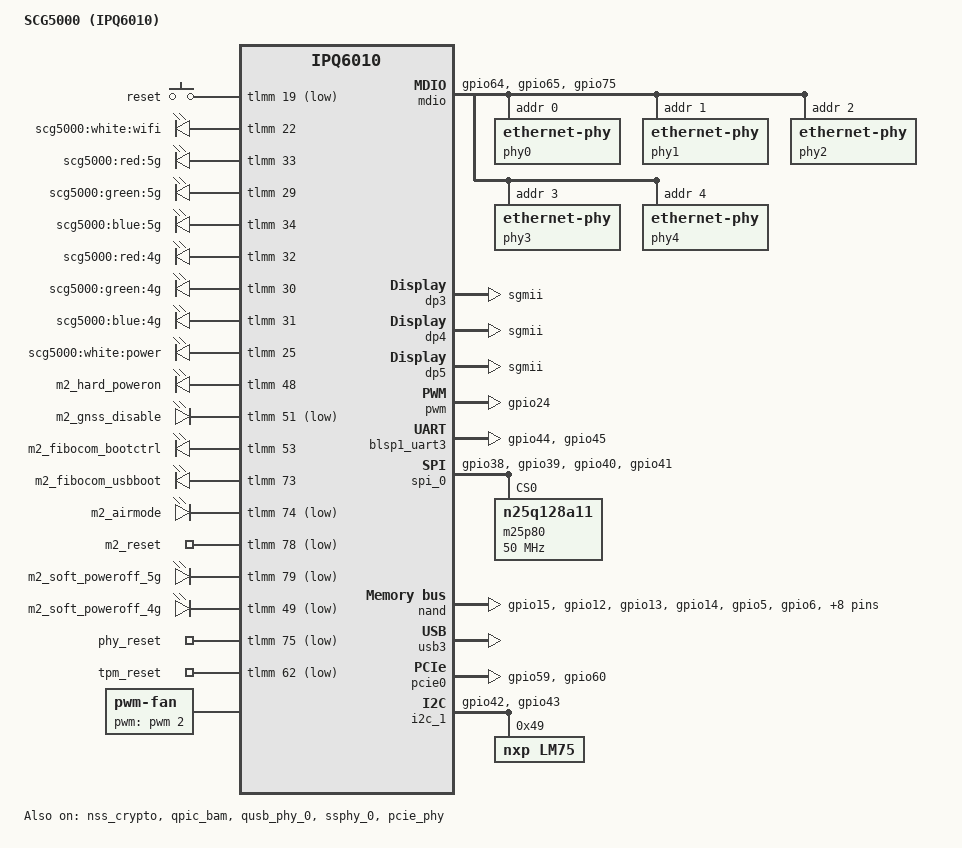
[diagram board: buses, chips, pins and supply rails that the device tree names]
// SPDX-License-Identifier: GPL-2.0-or-later OR MIT

/dts-v1/;

#include "qcom-ipq6018.dtsi"
#include "qcom-ipq6018-rpm-regulator.dtsi"
#include "qcom-ipq6018-cpr-regulator.dtsi"
#include "qcom-ipq6018-cp-cpu.dtsi"
#include <dt-bindings/input/input.h>
#include <dt-bindings/gpio/gpio.h>

/ {
	#address-cells = <0x2>;
	#size-cells = <0x2>;
	model = "SCG5000 (IPQ6010)";
	compatible = "alicloud,scg5000", "qcom,ipq6018", "qcom,ipq6010";
	interrupt-parent = <&intc>;
	qcom,msm-id = <0x192 0x0>;

	aliases {
		led-boot = &led_power;
		led-failsafe = &led_power;
		led-running = &led_power;
		led-upgrade = &led_power;
		serial0 = &blsp1_uart3;

		ethernet2 = "/soc/dp3";
		ethernet3 = "/soc/dp4";
		ethernet4 = "/soc/dp5";
	};

	chosen {
		bootargs-append = " root=/dev/ubiblock0_1 swiotlb=1 coherent_pool=2M";
	};

	soc {
		mdio: mdio@90000 {
			pinctrl-0 = <&mdio_pins>;
			pinctrl-names = "default";
			phy-reset-gpio = <&tlmm 75 0>;
			status = "ok";

			phy0: ethernet-phy@0 {
				reg = <0>;
			};
			phy1: ethernet-phy@1 {
				reg = <1>;
			};
			phy2: ethernet-phy@2 {
				reg = <2>;
			};
			phy3: ethernet-phy@3 {
				reg = <3>;
			};
			phy4: ethernet-phy@4 {
				reg = <4>;
			};
		};

		ess-switch@3a000000 {
			switch_cpu_bmp = <0x1>;  /* cpu port bitmap */
			switch_lan_bmp = <0x1e>; /* lan port bitmap */
			switch_wan_bmp = <0x20>; /* wan port bitmap */
			switch_inner_bmp = <0xc0>; /*inner port bitmap*/
			switch_mac_mode = <0x0>; /* mac mode for uniphy 0*/
			switch_mac_mode1 = <0xff>; /* mac mode for uniphy 1*/
			switch_mac_mode2 = <0xff>; /* mac mode for uniphy 2*/

			qcom,port_phyinfo {
				port@0 {
					port_id = <1>;
					phy_address = <0>;
				};
				port@1 {
					port_id = <2>;
					phy_address = <1>;
				};
				port@2 {
					port_id = <3>;
					phy_address = <2>;
				};
				port@3 {
					port_id = <4>;
					phy_address = <3>;
				};
				port@4 {
					port_id = <5>;
					phy_address = <4>;
				};
			};
		};

		dp3 {
			device_type = "network";
			compatible = "qcom,nss-dp";
			qcom,id = <3>;
			reg = <0x3a001400 0x200>;
			qcom,mactype = <0>;
			local-mac-address = [000000000000];
			qcom,link-poll = <1>;
			qcom,phy-mdio-addr = <2>;
			phy-mode = "sgmii";
		};

		dp4 {
			device_type = "network";
			compatible = "qcom,nss-dp";
			qcom,id = <4>;
			reg = <0x3a001600 0x200>;
			qcom,mactype = <0>;
			local-mac-address = [000000000000];
			qcom,link-poll = <1>;
			qcom,phy-mdio-addr = <3>;
			phy-mode = "sgmii";
		};

		dp5 {
			device_type = "network";
			compatible = "qcom,nss-dp";
			qcom,id = <5>;
			reg = <0x3a001800 0x200>;
			qcom,mactype = <0>;
			local-mac-address = [000000000000];
			qcom,link-poll = <1>;
			qcom,phy-mdio-addr = <4>;
			phy-mode = "sgmii";
		};
	};

	gpio_keys {
		compatible = "gpio-keys";
		pinctrl-0 = <&button_pins>;
		pinctrl-names = "default";

		reset {
			label = "reset";
			linux,code = <KEY_RESTART>;
			gpios = <&tlmm 19 GPIO_ACTIVE_LOW>;
			linux,input-type = <1>;
			debounce-interval = <60>;
		};
	};

	leds {
		compatible = "gpio-leds";
		pinctrl-0 = <&leds_pins>;
		pinctrl-names = "default";

		led_wifi: led_wifi {
			label = "scg5000:white:wifi";
			gpios = <&tlmm 22 GPIO_ACTIVE_HIGH>;
		};

		led_5g_red: led_5g_red {
			label = "scg5000:red:5g";
			gpios = <&tlmm 33 GPIO_ACTIVE_HIGH>;
		};

		led_5g_green: led_5g_green {
			label = "scg5000:green:5g";
			gpios = <&tlmm 29 GPIO_ACTIVE_HIGH>;
		};

		led_5g_blue: led_5g_blue {
			label = "scg5000:blue:5g";
			gpios = <&tlmm 34 GPIO_ACTIVE_HIGH>;
		};

		led_4g_red: led_4g_red {
			label = "scg5000:red:4g";
			gpios = <&tlmm 32 GPIO_ACTIVE_HIGH>;
		};

		led_4g_green: led_4g_green {
			label = "scg5000:green:4g";
			gpios = <&tlmm 30 GPIO_ACTIVE_HIGH>;
		};

		led_4g_blue: led_4g_blue {
			label = "scg5000:blue:4g";
			gpios = <&tlmm 31 GPIO_ACTIVE_HIGH>;
		};

		led_power: power {
			label = "scg5000:white:power";
			gpios = <&tlmm 25 GPIO_ACTIVE_HIGH>;
		};

		m2_hard_poweron: m2_hard_poweron {
			label = "m2_hard_poweron";
			gpios = <&tlmm 48 GPIO_ACTIVE_HIGH>;
			default-state = "on";
		};

		m2_gnss_disable: m2_gnss_disable {
			label = "m2_gnss_disable";
			gpios = <&tlmm 51 GPIO_ACTIVE_LOW>;
			default-state = "off";
			
		};

		m2_fibocom_bootctrl: m2_fibocom_bootctrl {
			label = "m2_fibocom_bootctrl";
			gpios = <&tlmm 53 GPIO_ACTIVE_HIGH>;
			default-state = "off";
		};

		m2_fibocom_usbboot: m2_fibocom_usbboot {
			label = "m2_fibocom_usbboot";
			gpios = <&tlmm 73 GPIO_ACTIVE_HIGH>;
			default-state = "keep";
		};

		m2_airmode: m2_airmode {
			label = "m2_airmode";
			gpios = <&tlmm 74 GPIO_ACTIVE_LOW>;
			default-state = "off";
		};

		m2_reset: m2_reset {
			label = "m2_reset";
			gpios = <&tlmm 78 GPIO_ACTIVE_LOW>;
			default-state = "keep";
		};

		m2_soft_poweroff_5g: m2_soft_poweroff_5g {
			label = "m2_soft_poweroff_5g";
			gpios = <&tlmm 79 GPIO_ACTIVE_LOW>;
			default-state = "off";
		};

		m2_soft_poweroff_4g: m2_soft_poweroff_4g {
			label = "m2_soft_poweroff_4g";
			gpios = <&tlmm 49 GPIO_ACTIVE_LOW>;
			default-state = "keep";
		};

		phy_reset: phy_reset {
			label = "phy_reset";
			gpios = <&tlmm 75 GPIO_ACTIVE_LOW>;
			default-state = "keep";
		};

		tpm_reset: tpm_reset {
			label = "tpm_reset";
			gpios = <&tlmm 62 GPIO_ACTIVE_LOW>;
			default-state = "keep";
		};
	};

	pwm: pwm {
		#pwm-cells = <2>;
		pinctrl-0 = <&pwm_pinmux>;
		pinctrl-names = "default";
		used-pwm-indices = <0>, <0>, <1>, <0>;
		status = "ok";
	};

	fan: pwm-fan {
	compatible = "pwm-fan";
	cooling-min-state = <0>;
	cooling-max-state = <3>;
	#cooling-cells = <2>;
	pwms = <&pwm 2 10000 0>;
	cooling-levels = <0 102 170 230>;
	};
};

&tlmm {
	i2c_1_pins: i2c_1_pins {
		mux {
			pins = "gpio42", "gpio43";
			function = "blsp2_i2c";
			drive-strength = <8>;
			bias-pull-down;
		};
	};
	pwm_pinmux: pwm_pinmux {
		mux_1 {
			pins = "gpio24";
			function = "pwm22";
			drive-strength = <8>;
		};
	};
	uart_pins: uart_pins {
		mux {
			pins = "gpio44", "gpio45";
			function = "blsp2_uart";
			drive-strength = <8>;
			bias-pull-down;
		};
	};
	spi_0_pins: spi_0_pins {
		mux {
			pins = "gpio38", "gpio39", "gpio40", "gpio41";
			function = "blsp0_spi";
			drive-strength = <8>;
			bias-pull-down;
		};
	};
	spi_4_pins: spi_4_pins {
		mux {
			pins = "gpio55", "gpio56", "gpio57", "gpio58";
			function = "blsp4_spi";
			drive-strength = <8>;
			bias-pull-down;
		};
	};

	qpic_pins: qpic_pins {
		data_0 {
			pins = "gpio15";
			function = "qpic_pad0";
			drive-strength = <8>;
			bias-pull-down;
		};
		data_1 {
			pins = "gpio12";
			function = "qpic_pad1";
			drive-strength = <8>;
			bias-pull-down;
		};
		data_2 {
			pins = "gpio13";
			function = "qpic_pad2";
			drive-strength = <8>;
			bias-pull-down;
		};
		data_3 {
			pins = "gpio14";
			function = "qpic_pad3";
			drive-strength = <8>;
			bias-pull-down;
		};
		data_4 {
			pins = "gpio5";
			function = "qpic_pad4";
			drive-strength = <8>;
			bias-pull-down;
		};
		data_5 {
			pins = "gpio6";
			function = "qpic_pad5";
			drive-strength = <8>;
			bias-pull-down;
		};
		data_6 {
			pins = "gpio7";
			function = "qpic_pad6";
			drive-strength = <8>;
			bias-pull-down;
		};
		data_7 {
			pins = "gpio8";
			function = "qpic_pad7";
			drive-strength = <8>;
			bias-pull-down;
		};
		qpic_pad {
			pins = "gpio1", "gpio3", "gpio4",
			       "gpio10", "gpio11", "gpio17";
			function = "qpic_pad";
			drive-strength = <8>;
			bias-pull-down;
		};
	};

	button_pins: button_pins {
		reset_button {
			pins = "gpio19";
			function = "gpio";
			drive-strength = <8>;
			bias-pull-up;
		};
	};

	mdio_pins: mdio_pinmux {
		mux_0 {
			pins = "gpio64";
			function = "mdc";
			drive-strength = <8>;
			bias-pull-up;
		};
		mux_1 {
			pins = "gpio65";
			function = "mdio";
			drive-strength = <8>;
			bias-pull-up;
		};
		mux_2 {
			pins = "gpio75";
			function = "gpio";
			bias-pull-up;
		};
	};

	leds_pins: leds_pins {
		led_wifi {
			pins = "gpio22";
			function = "gpio";
			drive-strength = <8>;
			bias-pull-down;
		};

		led_5g_red {
			pins = "gpio33";
			function = "gpio";
			drive-strength = <8>;
			bias-pull-down;
		};

		led_5g_green {
			pins = "gpio29";
			function = "gpio";
			drive-strength = <8>;
			bias-pull-down;
		};

		led_5g_blue {
			pins = "gpio34";
			function = "gpio";
			drive-strength = <8>;
			bias-pull-down;
		};

		led_4g_red {
			pins = "gpio32";
			function = "gpio";
			drive-strength = <8>;
			bias-pull-down;
		};

		led_4g_green {
			pins = "gpio30";
			function = "gpio";
			drive-strength = <8>;
			bias-pull-down;
		};

		led_4g_blue {
			pins = "gpio31";
			function = "gpio";
			drive-strength = <8>;
			bias-pull-down;
		};

		led_power {
			pins = "gpio25";
			function = "gpio";
			drive-strength = <8>;
			bias-pull-down;
		};

		m2_hard_poweron {
			pins = "gpio48";
			function = "gpio";
			drive-strength = <8>;
			bias-pull-down;
		};

		m2_gnss_disable {
			pins = "gpio51";
			function = "gpio";
			drive-strength = <8>;
			bias-pull-down;
		};

		m2_fibocom_bootctrl {
			pins = "gpio53";
			function = "gpio";
			drive-strength = <8>;
			bias-pull-down;
		};

		m2_fibocom_usbboot {
			pins = "gpio73";
			function = "gpio";
			drive-strength = <8>;
			bias-pull-down;
		};

		m2_airmode {
			pins = "gpio74";
			function = "gpio";
			drive-strength = <8>;
			bias-pull-down;
		};

		m2_reset {
			pins = "gpio78";
			function = "gpio";
			drive-strength = <8>;
			bias-pull-down;
		};

		m2_soft_poweroff_5g {
			pins = "gpio79";
			function = "gpio";
			drive-strength = <8>;
			bias-pull-down;
		};

		m2_soft_poweroff_4g {
			pins = "gpio49";
			function = "gpio";
			drive-strength = <8>;
			bias-pull-down;
		};

		tpm_reset {
			pins = "gpio62";
			function = "gpio";
			drive-strength = <8>;
			bias-pull-up;
		};
	};

	pcie_pins: pcie_pins {
		pcie0_clk {
			pins = "gpio59";
			function = "pcie0_clk";
			drive-strength = <8>;
			input-enable;
			bias-pull-up;
		};
		pcie0_rst {
			pins = "gpio60";
			function = "gpio";
			drive-strength = <8>;
			bias-pull-down;
		};
	};
};

&blsp1_uart3 {
	pinctrl-0 = <&uart_pins>;
	pinctrl-names = "default";
	status = "ok";
};

&spi_0 {
	pinctrl-0 = <&spi_0_pins>;
	pinctrl-names = "default";
	cs-select = <0>;
	status = "ok";

	m25p80@0 {
		#address-cells = <1>;
		#size-cells = <1>;
		reg = <0>;
		compatible = "n25q128a11";
		linux,modalias = "m25p80", "n25q128a11";
		spi-max-frequency = <50000000>;
		use-default-sizes;
	};
};

&nand {
	pinctrl-0 = <&qpic_pins>;
	pinctrl-names = "default";
	status = "ok";
};

&nss_crypto {
	status = "ok";
};

&qpic_bam {
	status = "ok";
};

&qusb_phy_0 {
	status = "ok";
};

&ssphy_0 {
	status = "ok";
};

&usb3 {
	status = "ok";
};

&pcie_phy {
	status = "ok";
};

&pcie0 {
	status = "ok";
	pinctrl-0 = <&pcie_pins>;
	pinctrl-names = "default";
	use_delay = <0x00>;
};

&i2c_1 {
	status = "ok";
	pinctrl-0 = <&i2c_1_pins>;
	pinctrl-names = "default";

	lm75@49 {
		compatible = "nxp,lm75";
		reg = <0x49>;
		#thermal-sensor-cells = <0x01>;
	};
};
